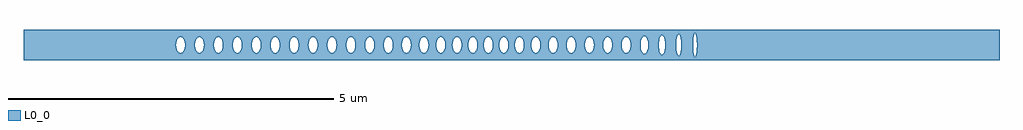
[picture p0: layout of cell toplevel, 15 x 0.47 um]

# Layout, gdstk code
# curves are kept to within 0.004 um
import gdstk
lib = gdstk.Library(unit=1e-6, precision=1e-09)
def P(c, l, *ps):  # polygons
    for p in ps: c.add(gdstk.Polygon(p, *l))
L0_0 = (0, 0)

toplevel = lib.new_cell('toplevel')
P(toplevel, L0_0, [(-4.574,0.016),(-4.559,0.079),(-4.559,0.235),(-7.5,0.235),(-7.5,-0.008),(-5.157,-0.008),(-5.155,0.031),(-5.141,0.079),(-5.12,0.109),(-5.091,0.124),(-5.064,0.118),(-5.041,0.096),(-5.022,0.053),(-5.016,-0.008),(-4.866,-0.008),(-4.864,0.031),(-4.85,0.079),(-4.829,0.109),(-4.8,0.124),(-4.774,0.118),(-4.75,0.096),(-4.738,0.073),(-4.725,0.016),(-4.728,-0.038),(-4.738,-0.073),(-4.761,-0.109),(-4.791,-0.124),(-4.817,-0.118),(-4.844,-0.09),(-4.861,-0.046),(-4.866,-0.008),(-5.016,-0.008),(-5.022,-0.053),(-5.041,-0.096),(-5.064,-0.118),(-5.082,-0.124),(-5.108,-0.118),(-5.131,-0.096),(-5.148,-0.06),(-5.157,-0.008),(-7.5,-0.008),(-7.5,-0.235),(-4.559,-0.235),(-4.559,-0.079),(-4.573,-0.031)],
  [(-4.553,0.09),(-4.518,0.122),(-4.491,0.122),(-4.474,0.112),(-4.447,0.073),(-4.437,0.038),(-4.434,-0.008),(-4.284,-0.008),(-4.281,0.038),(-4.259,0.096),(-4.227,0.122),(-4.2,0.122),(-4.176,0.105),(-4.159,0.079),(-4.145,0.031),(-4.143,-0.008),(-4.148,-0.046),(-4.162,-0.085),(-4.18,-0.109),(-4.209,-0.124),(-4.235,-0.118),(-4.259,-0.096),(-4.279,-0.046),(-4.284,-0.008),(-4.434,-0.008),(-4.447,-0.073),(-4.463,-0.1),(-4.483,-0.118),(-4.5,-0.124),(-4.526,-0.118),(-4.559,-0.079),(-4.559,-0.235),(-3.909,-0.235),(-3.909,-0.122),(-3.936,-0.122),(-3.968,-0.096),(-3.98,-0.073),(-3.993,-0.016),(-3.99,0.038),(-3.968,0.096),(-3.936,0.122),(-3.909,0.122),(-3.909,0.235),(-4.559,0.235),(-4.559,0.079)],
  [(-3.909,0.235),(-3.909,0.122),(-3.885,0.105),(-3.868,0.079),(-3.854,0.031),(-3.853,-0.016),(-3.702,-0.016),(-3.699,0.038),(-3.689,0.073),(-3.666,0.109),(-3.636,0.124),(-3.61,0.118),(-3.587,0.096),(-3.57,0.06),(-3.561,0.008),(-3.566,-0.046),(-3.58,-0.085),(-3.598,-0.109),(-3.627,-0.124),(-3.654,-0.118),(-3.677,-0.096),(-3.694,-0.06),(-3.702,-0.016),(-3.853,-0.016),(-3.871,-0.085),(-3.889,-0.109),(-3.909,-0.122),(-3.909,-0.235),(-3.275,-0.235),(-3.275,-0.046),(-3.303,-0.105),(-3.328,-0.122),(-3.35,-0.123),(-3.386,-0.096),(-3.403,-0.06),(-3.411,-0.016),(-3.403,0.06),(-3.386,0.096),(-3.363,0.118),(-3.337,0.124),(-3.307,0.109),(-3.29,0.085),(-3.275,0.046),(-3.275,0.235)],
  [(-2.538,-0.016),(-2.537,0.235),(-3.275,0.235),(-3.271,-0.016),(-3.12,-0.016),(-3.116,0.046),(-3.107,0.073),(-3.084,0.109),(-3.054,0.124),(-3.028,0.118),(-3.005,0.096),(-2.986,0.053),(-2.98,0),(-2.83,0),(-2.825,0.046),(-2.811,0.085),(-2.793,0.109),(-2.764,0.124),(-2.737,0.118),(-2.714,0.096),(-2.697,0.06),(-2.689,0.016),(-2.692,-0.038),(-2.702,-0.073),(-2.725,-0.109),(-2.755,-0.124),(-2.781,-0.118),(-2.811,-0.085),(-2.825,-0.046),(-2.83,0),(-2.98,0),(-2.986,-0.053),(-2.999,-0.085),(-3.016,-0.109),(-3.046,-0.124),(-3.072,-0.118),(-3.095,-0.096),(-3.11,-0.067),(-3.12,-0.016),(-3.271,-0.016),(-3.275,-0.235),(-2.537,-0.235)],
  [(-2.534,0.046),(-2.523,0.079),(-2.506,0.105),(-2.486,0.12),(-2.464,0.124),(-2.434,0.109),(-2.417,0.085),(-2.401,0.038),(-2.398,-0.008),(-2.249,-0.008),(-2.246,0.038),(-2.23,0.085),(-2.209,0.112),(-2.174,0.124),(-2.145,0.109),(-2.127,0.085),(-2.113,0.046),(-2.108,-0.008),(-2.113,-0.046),(-2.127,-0.085),(-2.145,-0.109),(-2.174,-0.124),(-2.2,-0.118),(-2.227,-0.09),(-2.244,-0.046),(-2.249,-0.008),(-2.398,-0.008),(-2.403,-0.046),(-2.423,-0.096),(-2.446,-0.118),(-2.464,-0.124),(-2.49,-0.118),(-2.51,-0.1),(-2.523,-0.079),(-2.537,-0.031),(-2.537,-0.235),(-1.915,-0.235),(-1.915,-0.118),(-1.931,-0.105),(-1.95,-0.073),(-1.963,-0.016),(-1.955,0.06),(-1.938,0.096),(-1.915,0.118),(-1.915,0.235),(-2.537,0.235)],
  [(-1.415,0.023),(-1.403,0.073),(-1.391,0.096),(-1.368,0.118),(-1.333,0.122),(-1.312,0.109),(-1.298,0.09),(-1.298,0.235),(-1.915,0.235),(-1.915,0.118),(-1.88,0.122),(-1.848,0.096),(-1.827,0.046),(-1.823,-0.016),(-1.685,-0.016),(-1.682,0.038),(-1.672,0.073),(-1.649,0.109),(-1.619,0.124),(-1.593,0.118),(-1.57,0.096),(-1.553,0.06),(-1.544,0.008),(-1.549,-0.046),(-1.56,-0.079),(-1.581,-0.109),(-1.61,-0.124),(-1.637,-0.118),(-1.66,-0.096),(-1.677,-0.06),(-1.685,-0.016),(-1.823,-0.016),(-1.833,-0.066),(-1.855,-0.105),(-1.884,-0.123),(-1.915,-0.118),(-1.915,-0.235),(-1.298,-0.235),(-1.298,-0.09),(-1.312,-0.109),(-1.341,-0.124),(-1.359,-0.122),(-1.38,-0.109),(-1.41,-0.053)],
  [(-1.298,0.235),(-1.298,0.09),(-1.28,0.046),(-1.276,-0.016),(-1.157,-0.016),(-1.154,0.038),(-1.144,0.073),(-1.121,0.109),(-1.091,0.124),(-1.065,0.118),(-1.035,0.085),(-1.018,0.031),(-1.017,-0.016),(-0.907,-0.016),(-0.904,0.038),(-0.894,0.073),(-0.871,0.109),(-0.841,0.124),(-0.815,0.118),(-0.792,0.096),(-0.775,0.06),(-0.766,0.008),(-0.771,-0.046),(-0.782,-0.079),(-0.803,-0.109),(-0.832,-0.124),(-0.859,-0.118),(-0.882,-0.096),(-0.899,-0.06),(-0.907,-0.016),(-1.017,-0.016),(-1.021,-0.046),(-1.038,-0.09),(-1.053,-0.109),(-1.082,-0.124),(-1.108,-0.118),(-1.132,-0.096),(-1.144,-0.073),(-1.157,-0.016),(-1.276,-0.016),(-1.284,-0.06),(-1.298,-0.09),(-1.298,-0.235),(-0.665,-0.235),(-0.665,0.235)],
  [(-0.663,0.023),(-0.656,0.06),(-0.639,0.096),(-0.616,0.118),(-0.59,0.124),(-0.56,0.109),(-0.537,0.073),(-0.527,0.038),(-0.524,-0.016),(-0.426,-0.016),(-0.42,0.053),(-0.401,0.096),(-0.369,0.122),(-0.351,0.124),(-0.334,0.118),(-0.304,0.085),(-0.286,0.016),(-0.29,-0.046),(-0.304,-0.085),(-0.318,-0.105),(-0.351,-0.124),(-0.369,-0.122),(-0.39,-0.109),(-0.413,-0.073),(-0.426,-0.016),(-0.524,-0.016),(-0.532,-0.06),(-0.556,-0.105),(-0.581,-0.122),(-0.607,-0.122),(-0.628,-0.109),(-0.646,-0.085),(-0.66,-0.046),(-0.665,-0.008),(-0.665,-0.235),(-0.16,-0.235),(-0.16,-0.1),(-0.176,-0.073),(-0.189,-0.016),(-0.186,0.038),(-0.176,0.073),(-0.16,0.1),(-0.16,0.235),(-0.665,0.235)],
  [(0.304,0.016),(0.316,0.073),(0.343,0.112),(0.378,0.124),(0.411,0.105),(0.411,0.235),(-0.16,0.235),(-0.16,0.1),(-0.145,0.115),(-0.123,0.124),(-0.105,0.122),(-0.081,0.105),(-0.064,0.079),(-0.053,0.046),(-0.049,-0.016),(0.052,-0.016),(0.056,0.046),(0.065,0.073),(0.088,0.109),(0.118,0.124),(0.144,0.118),(0.167,0.096),(0.184,0.06),(0.192,0.016),(0.188,-0.046),(0.179,-0.073),(0.156,-0.109),(0.126,-0.124),(0.1,-0.118),(0.077,-0.096),(0.06,-0.06),(0.052,-0.016),(-0.049,-0.016),(-0.064,-0.079),(-0.085,-0.109),(-0.105,-0.122),(-0.123,-0.124),(-0.145,-0.115),(-0.16,-0.1),(-0.16,-0.235),(0.411,-0.235),(0.411,-0.105),(0.378,-0.124),(0.36,-0.122),(0.336,-0.105),(0.316,-0.073),(0.308,-0.046)],
  [(0.411,0.235),(0.411,0.105),(0.435,0.06),(0.444,0),(0.569,0),(0.574,0.046),(0.589,0.085),(0.606,0.109),(0.636,0.124),(0.662,0.118),(0.685,0.096),(0.702,0.06),(0.71,0.016),(0.707,-0.038),(0.697,-0.073),(0.674,-0.109),(0.644,-0.124),(0.618,-0.118),(0.595,-0.096),(0.574,-0.046),(0.569,0),(0.444,0),(0.435,-0.06),(0.411,-0.105),(0.411,-0.235),(0.985,-0.235),(0.985,-0.034),(0.972,-0.079),(0.959,-0.1),(0.939,-0.118),(0.913,-0.124),(0.895,-0.118),(0.872,-0.096),(0.855,-0.06),(0.847,-0.016),(0.85,0.038),(0.86,0.073),(0.879,0.105),(0.904,0.122),(0.93,0.122),(0.955,0.105),(0.972,0.079),(0.985,0.031),(0.985,0.235)],
  [(0.987,-0.016),(0.985,-0.235),(1.703,-0.235),(1.703,-0.066),(1.692,-0.016),(1.694,0.031),(1.703,0.066),(1.703,0.235),(0.985,0.235),(0.988,0),(1.127,0),(1.132,0.046),(1.153,0.096),(1.176,0.118),(1.202,0.124),(1.232,0.109),(1.249,0.085),(1.262,0.053),(1.268,-0.008),(1.408,-0.008),(1.413,0.046),(1.437,0.1),(1.457,0.118),(1.474,0.124),(1.505,0.115),(1.524,0.096),(1.536,0.073),(1.546,0.038),(1.549,-0.016),(1.53,-0.085),(1.513,-0.109),(1.492,-0.122),(1.465,-0.122),(1.434,-0.096),(1.417,-0.06),(1.408,-0.008),(1.268,-0.008),(1.262,-0.053),(1.243,-0.096),(1.22,-0.118),(1.202,-0.124),(1.176,-0.118),(1.153,-0.096),(1.132,-0.046),(1.127,0),(0.988,0)],
  [(1.711,0.085),(1.74,0.118),(1.775,0.122),(1.8,0.105),(1.817,0.079),(1.828,0.046),(1.831,-0.017),(1.983,-0.017),(1.987,0.051),(1.999,0.095),(2.021,0.128),(2.047,0.138),(2.066,0.128),(2.085,0.101),(2.1,0.051),(2.104,-0.009),(2.1,-0.051),(2.085,-0.101),(2.066,-0.128),(2.047,-0.138),(2.028,-0.134),(2.002,-0.101),(1.99,-0.067),(1.983,-0.017),(1.831,-0.017),(1.828,-0.046),(1.814,-0.085),(1.796,-0.109),(1.767,-0.124),(1.749,-0.122),(1.728,-0.109),(1.703,-0.067),(1.703,-0.235),(2.319,-0.235),(2.319,-0.151),(2.297,-0.145),(2.28,-0.117),(2.262,-0.019),(2.268,0.073),(2.28,0.117),(2.297,0.145),(2.319,0.151),(2.319,0.235),(1.703,0.235),(1.703,0.066)],
  [(2.36,-0.056),(2.345,-0.117),(2.334,-0.138),(2.319,-0.151),(2.319,-0.235),(7.5,-0.235),(7.5,0.235),(2.319,0.235),(2.319,0.151),(2.34,0.128),(2.354,0.089),(2.362,0.038),(2.362,-0.031),(2.53,-0.031),(2.532,0.061),(2.542,0.121),(2.555,0.154),(2.573,0.166),(2.588,0.15),(2.602,0.106),(2.61,0.041),(2.61,-0.034),(2.79,-0.034),(2.793,0.087),(2.807,0.163),(2.818,0.18),(2.826,0.177),(2.843,0.123),(2.851,0.034),(2.85,-0.056),(2.84,-0.139),(2.822,-0.18),(2.811,-0.171),(2.802,-0.146),(2.79,-0.034),(2.61,-0.034),(2.6,-0.114),(2.588,-0.15),(2.573,-0.166),(2.56,-0.161),(2.544,-0.128),(2.53,-0.031),(2.362,-0.031)])

lib.write_gds('toplevel.gds')
